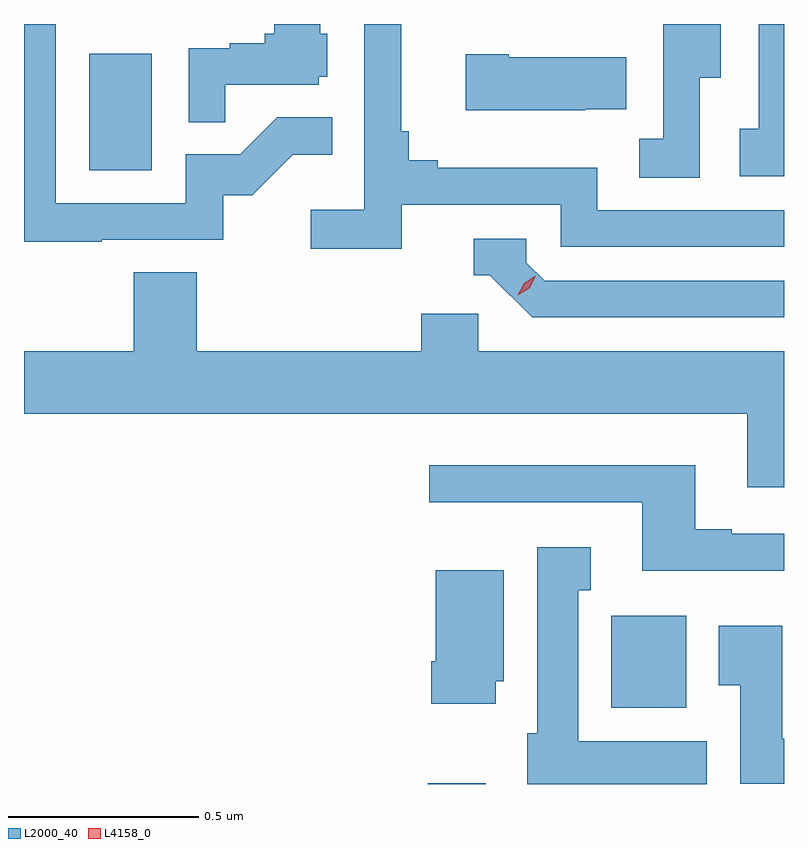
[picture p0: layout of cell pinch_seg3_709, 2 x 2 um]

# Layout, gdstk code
import gdstk
lib = gdstk.Library(unit=1e-6, precision=1e-09)
def R(c, l, rs):  # rectangles x0, y0, x1, y1
    for r in rs: c.add(gdstk.rectangle(r[:2], r[2:], *l))
def P(c, l, *ps):  # polygons
    for p in ps: c.add(gdstk.Polygon(p, *l))
L2000_40 = (2000, 40)
L4158_0 = (4158, 0)

pinch_seg3_709 = lib.new_cell('pinch_seg3_709')
R(pinch_seg3_709, L2000_40, [(1133.687,681.293,1133.839,681.295), (1134.17,681.494,1134.367,681.736), (1132.796,682.908,1132.96,683.215)])
P(pinch_seg3_709, L2000_40, [(1134.624,683.293),(1134.558,683.293),(1134.558,683.018),(1134.507,683.018),(1134.507,682.893),(1134.624,682.893)],
  [(1132.829,682.725),(1133.148,682.725),(1133.148,682.842),(1133.224,682.842),(1133.331,682.949),(1133.435,682.949),(1133.435,683.048),(1133.291,683.048),(1133.193,682.95),(1133.049,682.95),(1133.049,682.821),(1132.707,682.821),(1132.707,683.293),(1132.624,683.293),(1132.624,682.72),(1132.829,682.72)],
  [(1133.618,682.818),(1134.036,682.818),(1134.036,682.707),(1134.624,682.707),(1134.624,682.803),(1134.132,682.803),(1134.132,682.915),(1133.713,682.915),(1133.713,682.934),(1133.636,682.934),(1133.636,683.011),(1133.617,683.011),(1133.617,683.293),(1133.52,683.293),(1133.52,682.804),(1133.379,682.804),(1133.379,682.702),(1133.618,682.702)],
  [(1134.402,683.152),(1134.457,683.152),(1134.457,683.293),(1134.306,683.293),(1134.306,682.991),(1134.243,682.991),(1134.243,682.888),(1134.402,682.888)],
  [(1133.153,683.133),(1133.4,683.133),(1133.4,683.154),(1133.422,683.154),(1133.422,683.268),(1133.404,683.268),(1133.404,683.293),(1133.282,683.293),(1133.282,683.268),(1133.257,683.268),(1133.257,683.242),(1133.165,683.242),(1133.165,683.229),(1133.058,683.229),(1133.058,683.035),(1133.153,683.035)],
  [(1134.101,683.069),(1134.209,683.069),(1134.209,683.206),(1133.899,683.206),(1133.899,683.214),(1133.787,683.214),(1133.787,683.066),(1134.101,683.066)],
  [(1134.624,682.617),(1133.994,682.617),(1133.946,682.665),(1133.946,682.728),(1133.807,682.728),(1133.807,682.632),(1133.85,682.632),(1133.961,682.521),(1134.624,682.521)],
  [(1134.624,682.432),(1133.82,682.432),(1133.82,682.53),(1133.669,682.53),(1133.669,682.432),(1133.078,682.432),(1133.078,682.64),(1132.913,682.64),(1132.913,682.432),(1132.624,682.432),(1132.624,682.268),(1134.527,682.268),(1134.527,682.074),(1134.624,682.074)],
  [(1134.624,681.951),(1134.487,681.951),(1134.487,681.964),(1134.391,681.964),(1134.391,682.132),(1133.691,682.132),(1133.691,682.035),(1134.251,682.035),(1134.251,681.854),(1134.624,681.854)],
  [(1134.421,681.406),(1134.082,681.406),(1134.082,681.803),(1134.115,681.803),(1134.115,681.916),(1133.975,681.916),(1133.975,681.426),(1133.948,681.426),(1133.948,681.293),(1134.421,681.293)],
  [(1133.866,681.564),(1133.887,681.564),(1133.887,681.856),(1133.708,681.856),(1133.708,681.616),(1133.696,681.616),(1133.696,681.504),(1133.866,681.504)],
  [(1134.624,681.412),(1134.619,681.412),(1134.619,681.709),(1134.452,681.709),(1134.452,681.553),(1134.509,681.553),(1134.509,681.294),(1134.624,681.294)])
P(pinch_seg3_709, L4158_0, [(1133.923,682.579),(1133.923,682.579),(1133.94,682.611),(1133.971,682.63),(1133.971,682.63),(1133.971,682.63),(1133.954,682.598),(1133.923,682.579)])

lib.write_gds('pinch_seg3_709.gds')
